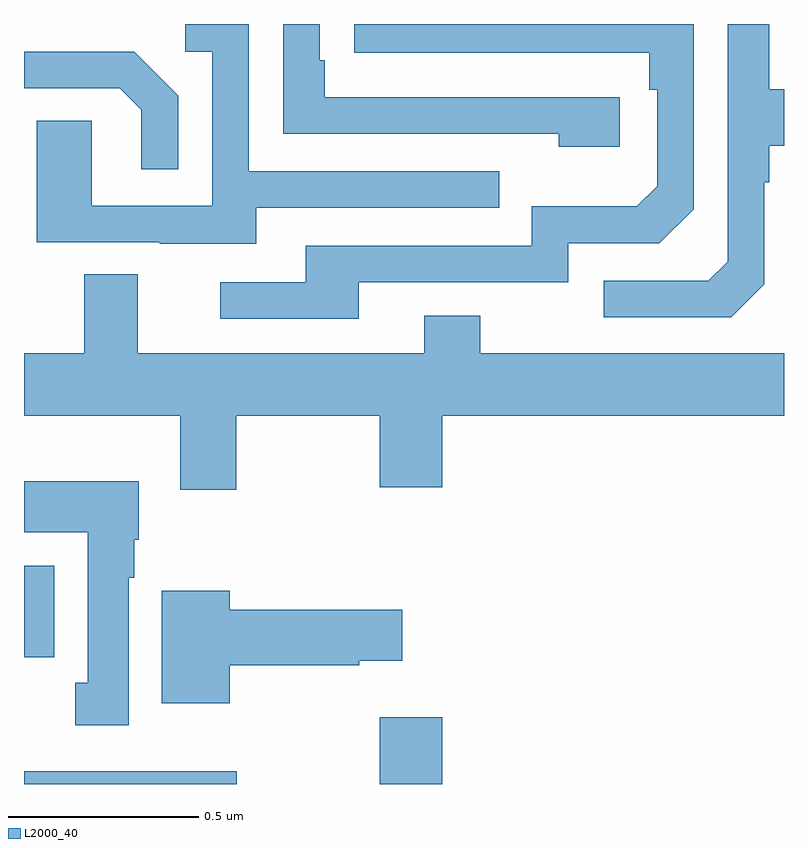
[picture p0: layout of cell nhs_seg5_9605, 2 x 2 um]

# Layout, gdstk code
import gdstk
lib = gdstk.Library(unit=1e-6, precision=1e-09)
def R(c, l, rs):  # rectangles x0, y0, x1, y1
    for r in rs: c.add(gdstk.rectangle(r[:2], r[2:], *l))
def P(c, l, *ps):  # polygons
    for p in ps: c.add(gdstk.Polygon(p, *l))
L2000_40 = (2000, 40)

nhs_seg5_9605 = lib.new_cell('nhs_seg5_9605')
R(nhs_seg5_9605, L2000_40, [(236,847.799,236.56,847.833), (236.936,847.799,237.1,847.975), (236,848.132,236.08,848.374)])
P(nhs_seg5_9605, L2000_40, [(237.948,849.114),(237.948,849.383),(237.961,849.383),(237.961,849.479),(238,849.479),(238,849.627),(237.961,849.627),(237.961,849.799),(237.852,849.799),(237.852,849.174),(237.801,849.123),(237.525,849.123),(237.525,849.027),(237.861,849.027)],
  [(236.611,849.315),(237.251,849.315),(237.251,849.411),(236.592,849.411),(236.592,849.799),(236.424,849.799),(236.424,849.726),(236.496,849.726),(236.496,849.321),(236.178,849.321),(236.178,849.545),(236.033,849.545),(236.033,849.225),(236.357,849.225),(236.357,849.221),(236.611,849.221)],
  [(236.881,849.12),(237.432,849.12),(237.432,849.222),(237.672,849.222),(237.762,849.312),(237.762,849.799),(236.869,849.799),(236.869,849.724),(236.971,849.724),(236.971,849.723),(237.646,849.723),(237.646,849.626),(237.666,849.626),(237.666,849.372),(237.613,849.319),(237.336,849.319),(237.336,849.216),(236.741,849.216),(236.741,849.12),(236.517,849.12),(236.517,849.024),(236.881,849.024)],
  [(237.568,849.606),(236.791,849.606),(236.791,849.703),(236.778,849.703),(236.778,849.799),(236.682,849.799),(236.682,849.51),(237.407,849.51),(237.407,849.476),(237.568,849.476)],
  [(236.406,849.61),(236.29,849.726),(236,849.726),(236,849.63),(236.252,849.63),(236.309,849.573),(236.309,849.417),(236.406,849.417)],
  [(236.559,848.768),(236.936,848.768),(236.936,848.58),(237.1,848.58),(237.1,848.768),(238,848.768),(238,848.932),(237.201,848.932),(237.201,849.031),(237.053,849.031),(237.053,848.932),(236.299,848.932),(236.299,849.14),(236.159,849.14),(236.159,848.932),(236,848.932),(236,848.768),(236.411,848.768),(236.411,848.574),(236.559,848.574)],
  [(236.275,848.342),(236.29,848.342),(236.29,848.442),(236.302,848.442),(236.302,848.596),(236,848.596),(236,848.462),(236.168,848.462),(236.168,848.066),(236.135,848.066),(236.135,847.953),(236.275,847.953)],
  [(236.542,848.111),(236.882,848.111),(236.882,848.123),(236.995,848.123),(236.995,848.258),(236.542,848.258),(236.542,848.308),(236.363,848.308),(236.363,848.012),(236.542,848.012)])

lib.write_gds('nhs_seg5_9605.gds')
